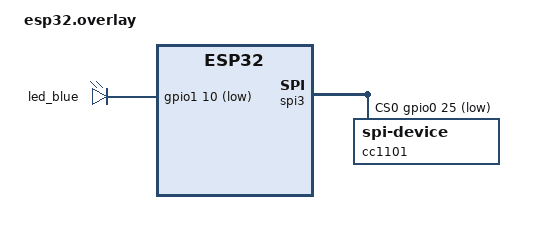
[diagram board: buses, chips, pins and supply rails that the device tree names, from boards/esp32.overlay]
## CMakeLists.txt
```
cmake_minimum_required(VERSION 3.20.0)

find_package(Zephyr)
project(demo_spi)

target_sources(app PRIVATE src/main.c)
```

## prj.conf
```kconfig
CONFIG_GPIO=y
CONFIG_SPI=y
CONFIG_SPI_ESP32_INTERRUPT=y

CONFIG_LOG=y
CONFIG_LOG_BACKEND_UART=y
CONFIG_SERIAL=y
```

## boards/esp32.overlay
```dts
#include <dt-bindings/pinctrl/esp32-pinctrl.h>

/ {
   	aliases {
   		led0 = &led_blue;
                spi = &spi3;
   	};

   	leds {
   		compatible = "gpio-leds";
   		led_blue: led_0 {
   			gpios = <&gpio1 10 GPIO_ACTIVE_LOW>;
                };
   	};

};


&pinctrl {
        spim3_default {
                group1 {
                        pinmux = < SPIM3_MOSI_GPIO18 >,
                                 < SPIM3_MISO_GPIO19 >,
                                 < SPIM3_SCLK_GPIO5 >;
                        bias-disable;
                };
                group2 {
                        pinmux = < SPIM3_CSEL_GPIO25 >;
                        bias-disable;
                };
        };
};

&spi3 {
        pinctrl-0 = <&spim3_default>;
        pinctrl-names = "default";

/*    interrupts = <GIC_SPI 34 IRQ_TYPE_LEVEL_HIGH>, <GIC_SPI 25 IRQ_TYPE_LEVEL_HIGH>; */
        status = "okay";
        cs-gpios = <&gpio0 25 GPIO_ACTIVE_LOW>;

        cc1101: spi-device@0 {
                reg = <0>;
                half-duplex = <0>;
        };
};
```

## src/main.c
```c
/*
 * Copyright (c) 2016 Intel Corporation
 *
 * SPDX-License-Identifier: Apache-2.0
 */

#include <zephyr/kernel.h>
#include <zephyr/drivers/gpio.h>
#include <zephyr/logging/log.h>
#include <zephyr/drivers/spi.h>

LOG_MODULE_REGISTER(main);

#define CC1101_REG_VERSION                            0x31
#define CC1101_VERSION_CURRENT                        0x14
#define CC1101_VERSION_LEGACY                         0x04
#define CC1101_VERSION_CLONE                          0x17

int strobe (const struct device *spidev, struct spi_config *spi_cfg,uint8_t cmd)
{
	cmd = cmd & 0x3f;

	uint8_t wr_buf[1] = {cmd};
	struct spi_buf wr_spibuf[1];
	
	wr_spibuf[0].buf = wr_buf;
	wr_spibuf[0].len = 1;

	const struct spi_buf_set tx_buff = { wr_spibuf, 1 };

	return spi_transceive(spidev, spi_cfg, &tx_buff, 0);
}

void main(void)
{
	int err;

	const struct device *spidev = DEVICE_DT_GET(DT_ALIAS(spi));
	struct spi_config spi_cfg = {0};

	if (!device_is_ready(spidev)) {
		LOG_INF("%s: device not ready.\n", spidev->name);
		return;
	}

	LOG_INF("\n%s SPI testing\n", spidev->name);

	spi_cfg.operation = SPI_WORD_SET(8);
	spi_cfg.frequency = 256000U;

	LOG_INF("Resetting chip\n");
	strobe(spidev, &spi_cfg,0x30);
	k_msleep(500);

	while (true) {
		uint8_t wr_buf[2] = {0x80 | 0x40 | CC1101_REG_VERSION, 0};
		struct spi_buf wr_spibuf[1];
		
		wr_spibuf[0].buf = wr_buf;
		wr_spibuf[0].len = 2;

		const struct spi_buf_set tx_buff = { wr_spibuf, 1 };

		uint8_t rd_buf[2] = { 0, 0};
		struct spi_buf rd_spibuf[1];
		
		rd_spibuf[0].buf = rd_buf;
		rd_spibuf[0].len = 2;

		const struct spi_buf_set rx_buff = { rd_spibuf, 1 };

		err = spi_transceive(spidev, &spi_cfg, &tx_buff, &rx_buff);
		if (err == 0) {
			if (rd_buf[1] != CC1101_VERSION_CURRENT && 
				rd_buf[1] != CC1101_VERSION_CLONE &&
				rd_buf[1] != CC1101_VERSION_LEGACY) {
				LOG_ERR("Invalid value (%02x)", rd_buf[1]);
			} else {
				LOG_INFO("Version: %02x", rd_buf[1]);
				return;
			}
		}

		LOG_INF("Error reading SPI\n");
		k_msleep(500);
	}
}
```
